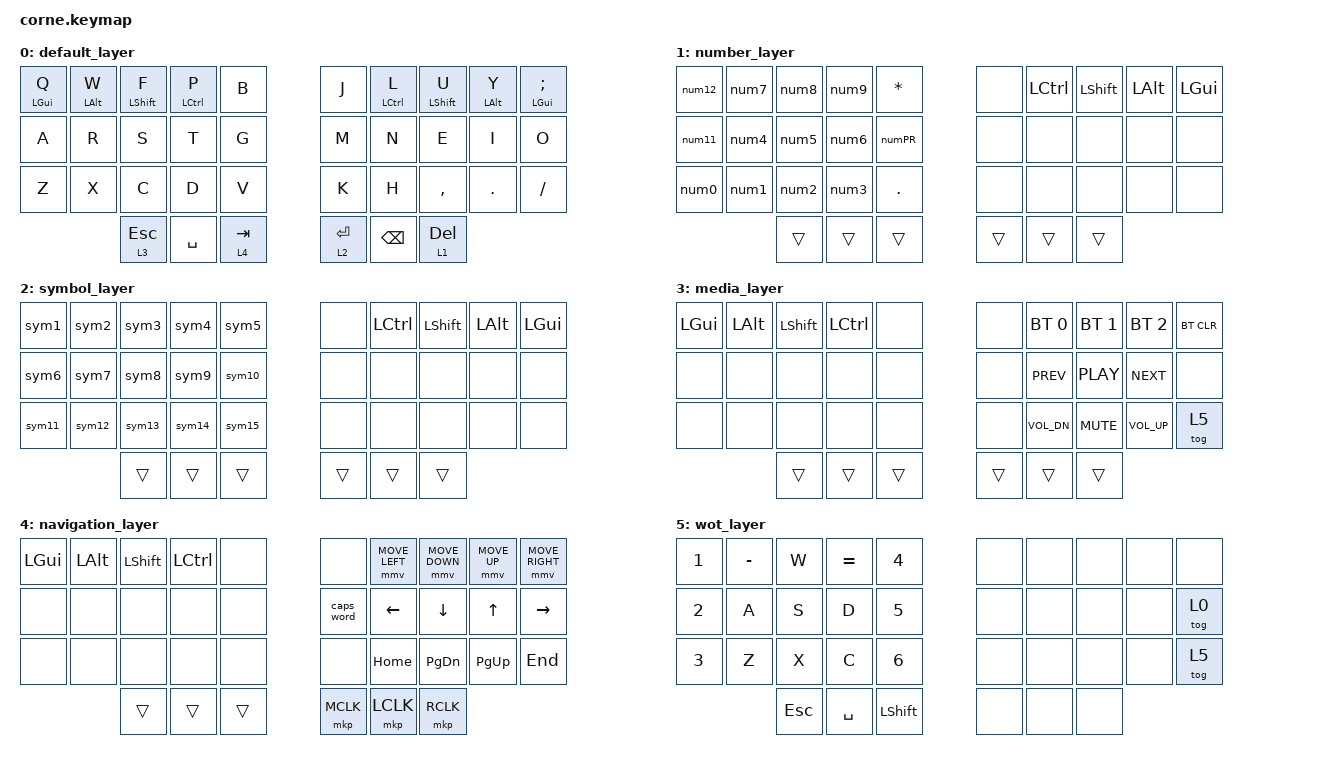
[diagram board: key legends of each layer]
/*
 * Copyright (c) 2020 The ZMK Contributors
 *
 * SPDX-License-Identifier: MIT
 */

#include <behaviors.dtsi>
#include <dt-bindings/zmk/keys.h>
#include <dt-bindings/zmk/bt.h>
#include <dt-bindings/zmk/mouse.h>
#include <behaviors/mouse_keys.dtsi>

/ {
    chosen {
        zmk,physical-layout = &foostan_corne_5col_layout;
    };
};

/ {
    behaviors {
        sym1: grave_caret {
            compatible = "zmk,behavior-mod-morph";
            #binding-cells = <0>;
            bindings = <&kp GRAVE>, <&kp CARET>;
            mods = <(MOD_LSFT)>;
        };
        sym2: dollar_pound {
            compatible = "zmk,behavior-mod-morph";
            #binding-cells = <0>;
            bindings = <&kp DOLLAR>, <&kp HASH>;
            mods = <(MOD_LSFT)>;
        };
        sym3: minus_under {
            compatible = "zmk,behavior-mod-morph";
            #binding-cells = <0>;
            bindings = <&kp MINUS>, <&kp UNDER>;
            mods = <(MOD_LSFT)>;
        };
        sym4: equal_plus {
            compatible = "zmk,behavior-mod-morph";
            #binding-cells = <0>;
            bindings = <&kp EQUAL>, <&kp PLUS>;
            mods = <(MOD_LSFT)>;
        };
        sym5: asterisk_percent {
            compatible = "zmk,behavior-mod-morph";
            #binding-cells = <0>;
            bindings = <&kp ASTRK>, <&kp PRCNT>;
            mods = <(MOD_LSFT)>;
        };
        sym6: less_greater {
            compatible = "zmk,behavior-mod-morph";
            #binding-cells = <0>;
            bindings = <&kp LT>, <&kp GT>;
            mods = <(MOD_LSFT)>;
        };
        sym7: lbracket_rbracket {
            compatible = "zmk,behavior-mod-morph";
            #binding-cells = <0>;
            bindings = <&kp LBKT>, <&kp RBKT>;
            mods = <(MOD_LSFT)>;
        };
        sym8: lbrace_rbrace {
            compatible = "zmk,behavior-mod-morph";
            #binding-cells = <0>;
            bindings = <&kp LBRC>, <&kp RBRC>;
            mods = <(MOD_LSFT)>;
        };
        sym9: lpar_rpar {
            compatible = "zmk,behavior-mod-morph";
            #binding-cells = <0>;
            bindings = <&kp LPAR>, <&kp RPAR>;
            mods = <(MOD_LSFT)>;
        };
        sym10: fslash_bslash {
            compatible = "zmk,behavior-mod-morph";
            #binding-cells = <0>;
            bindings = <&kp FSLH>, <&kp NUBS>;
            mods = <(MOD_LSFT)>;
        };
        sym11: colon_tilde {
            compatible = "zmk,behavior-mod-morph";
            #binding-cells = <0>;
            bindings = <&kp COLON>, <&kp PIPE>;
            mods = <(MOD_LSFT)>;
        };
        sym12: ampersand_pipe {
            compatible = "zmk,behavior-mod-morph";
            #binding-cells = <0>;
            bindings = <&kp AMPS>, <&kp PIPE2>;
            mods = <(MOD_LSFT)>;
        };
        sym13: singlequote_doublequote {
            compatible = "zmk,behavior-mod-morph";
            #binding-cells = <0>;
            bindings = <&kp SQT>, <&kp AT>;
            mods = <(MOD_LSFT)>;
        };
        sym14: exclamation_question {
            compatible = "zmk,behavior-mod-morph";
            #binding-cells = <0>;
            bindings = <&kp EXCL>, <&kp QMARK>;
            mods = <(MOD_LSFT)>;
        };
        sym15: at_hash {
            compatible = "zmk,behavior-mod-morph";
            #binding-cells = <0>;
            bindings = <&kp DQT>, <&kp BSLH>;
            mods = <(MOD_LSFT)>;
        };
        num1: 1_F1 {
            compatible = "zmk,behavior-mod-morph";
            #binding-cells = <0>;
            bindings = <&kp N1>, <&kp F1>;
            mods = <(MOD_LSFT)>;
        };
        num2: 2_F2 {
            compatible = "zmk,behavior-mod-morph";
            #binding-cells = <0>;
            bindings = <&kp N2>, <&kp F2>;
            mods = <(MOD_LSFT)>;
        };
        num3: 3_F3 {
            compatible = "zmk,behavior-mod-morph";
            #binding-cells = <0>;
            bindings = <&kp N3>, <&kp F3>;
            mods = <(MOD_LSFT)>;
        };
        num4: 4_F4 {
            compatible = "zmk,behavior-mod-morph";
            #binding-cells = <0>;
            bindings = <&kp N4>, <&kp F4>;
            mods = <(MOD_LSFT)>;
        };
        num5: 5_F5 {
            compatible = "zmk,behavior-mod-morph";
            #binding-cells = <0>;
            bindings = <&kp N5>, <&kp F5>;
            mods = <(MOD_LSFT)>;
        };
        num6: 6_F6 {
            compatible = "zmk,behavior-mod-morph";
            #binding-cells = <0>;
            bindings = <&kp N6>, <&kp F6>;
            mods = <(MOD_LSFT)>;
        };
        num7: 7_F7 {
            compatible = "zmk,behavior-mod-morph";
            #binding-cells = <0>;
            bindings = <&kp N7>, <&kp F7>;
            mods = <(MOD_LSFT)>;
        };
        num8: 8_F8 {
            compatible = "zmk,behavior-mod-morph";
            #binding-cells = <0>;
            bindings = <&kp N8>, <&kp F8>;
            mods = <(MOD_LSFT)>;
        };
        num9: 9_F9 {
            compatible = "zmk,behavior-mod-morph";
            #binding-cells = <0>;
            bindings = <&kp N9>, <&kp F9>;
            mods = <(MOD_LSFT)>;
        };
        num0: 0_F10 {
            compatible = "zmk,behavior-mod-morph";
            #binding-cells = <0>;
            bindings = <&kp N0>, <&kp F10>;
            mods = <(MOD_LSFT)>;
        };
        num11: MINUS_F11 {
            compatible = "zmk,behavior-mod-morph";
            #binding-cells = <0>;
            bindings = <&kp MINUS>, <&kp F11>;
            mods = <(MOD_LSFT)>;
        };
        num12: PLUS_F12 {
            compatible = "zmk,behavior-mod-morph";
            #binding-cells = <0>;
            bindings = <&kp PLUS>, <&kp F12>;
            mods = <(MOD_LSFT)>;
        };
        numPR: SLASH_PRINT {
            compatible = "zmk,behavior-mod-morph";
            #binding-cells = <0>;
            bindings = <&kp SLASH>, <&kp PRINTSCREEN>;
            mods = <(MOD_LSFT)>;
        };
    };
};

&mt {
    tapping-term-ms = <400>;
};

/ {
        keymap {
                compatible = "zmk,keymap";

                default_layer {
                        bindings = <
   &mt LGUI Q   &mt LALT W      &mt LSHFT F     &mt LCTRL P     &kp B                   &kp J           &mt LCTRL L     &mt LSHFT U     &mt LALT Y      &mt LGUI SEMI    
   &kp A        &kp R           &kp S           &kp T           &kp G                   &kp M           &kp N           &kp E           &kp I           &kp O 
   &kp Z        &kp X           &kp C           &kp D           &kp V                   &kp K           &kp H           &kp COMMA       &kp DOT         &kp FSLH
                        &lt 3 ESC    &kp SPACE        &lt 4 TAB       &lt 2 ENTER        &kp BACKSPACE    &lt 1 DELETE
                        >;
                };

                number_layer {
                        bindings = <
   &num12   &num7    &num8       &num9      &kp ASTERISK            &none   &kp LCTRL       &kp LSHFT       &kp LALT        &kp LGUI
   &num11   &num4    &num5       &num6      &numPR                  &none   &none           &none           &none           &none
   &num0    &num1    &num2       &num3      &kp PERIOD              &none   &none           &none           &none           &none
                                                        &trans    &trans    &trans   &trans   &trans   &trans
                        >;
                };

                symbol_layer {
                        bindings = <
&sym1   &sym2   &sym3   &sym4   &sym5           &none   &kp LCTRL       &kp LSHFT       &kp LALT        &kp LGUI
&sym6   &sym7   &sym8   &sym9   &sym10          &none   &none           &none           &none           &none
&sym11  &sym12  &sym13  &sym14  &sym15          &none   &none           &none           &none           &none
                &trans    &trans    &trans   &trans   &trans   &trans
                        >;
                };

                media_layer {
                        bindings = <
   &kp LGUI     &kp LALT        &kp LSHFT       &kp LCTRL       &none           &none   &bt BT_SEL 0            &bt BT_SEL 1            &bt BT_SEL 2            &bt BT_CLR
   &none        &none           &none           &none           &none           &none   &kp C_PREV              &kp C_PLAY              &kp C_NEXT              &none
   &none        &none           &none           &none           &none           &none   &kp C_VOL_DN            &kp C_MUTE              &kp C_VOL_UP            &tog 5
                                                        &trans    &trans    &trans   &trans   &trans   &trans
                        >;
                };

                navigation_layer {
                        bindings = <
   &kp LGUI     &kp LALT        &kp LSHFT       &kp LCTRL       &none           &none           &mmv MOVE_LEFT  &mmv MOVE_DOWN  &mmv MOVE_UP    &mmv MOVE_RIGHT
   &none        &none           &none           &none           &none           &caps_word      &kp LEFT        &kp DOWN        &kp UP          &kp RIGHT
   &none        &none           &none           &none           &none           &none           &kp HOME        &kp PG_DN       &kp PG_UP       &kp END
                                                        &trans    &trans    &trans   &mkp MCLK   &mkp LCLK   &mkp RCLK
                        >;
                };

                wot_layer {
                        bindings = <
   &kp N1   &kp MINUS   &kp W       &kp EQUAL   &kp N4      &none   &none   &none   &none   &none
   &kp N2   &kp A       &kp S       &kp D       &kp N5      &none   &none   &none   &none   &tog 0
   &kp N3   &kp Z       &kp X       &kp C       &kp N6      &none   &none   &none   &none   &tog 5
                        &kp ESC     &kp SPACE   &kp LSHFT   &none   &none   &none
                        >;
                };
        };
};
